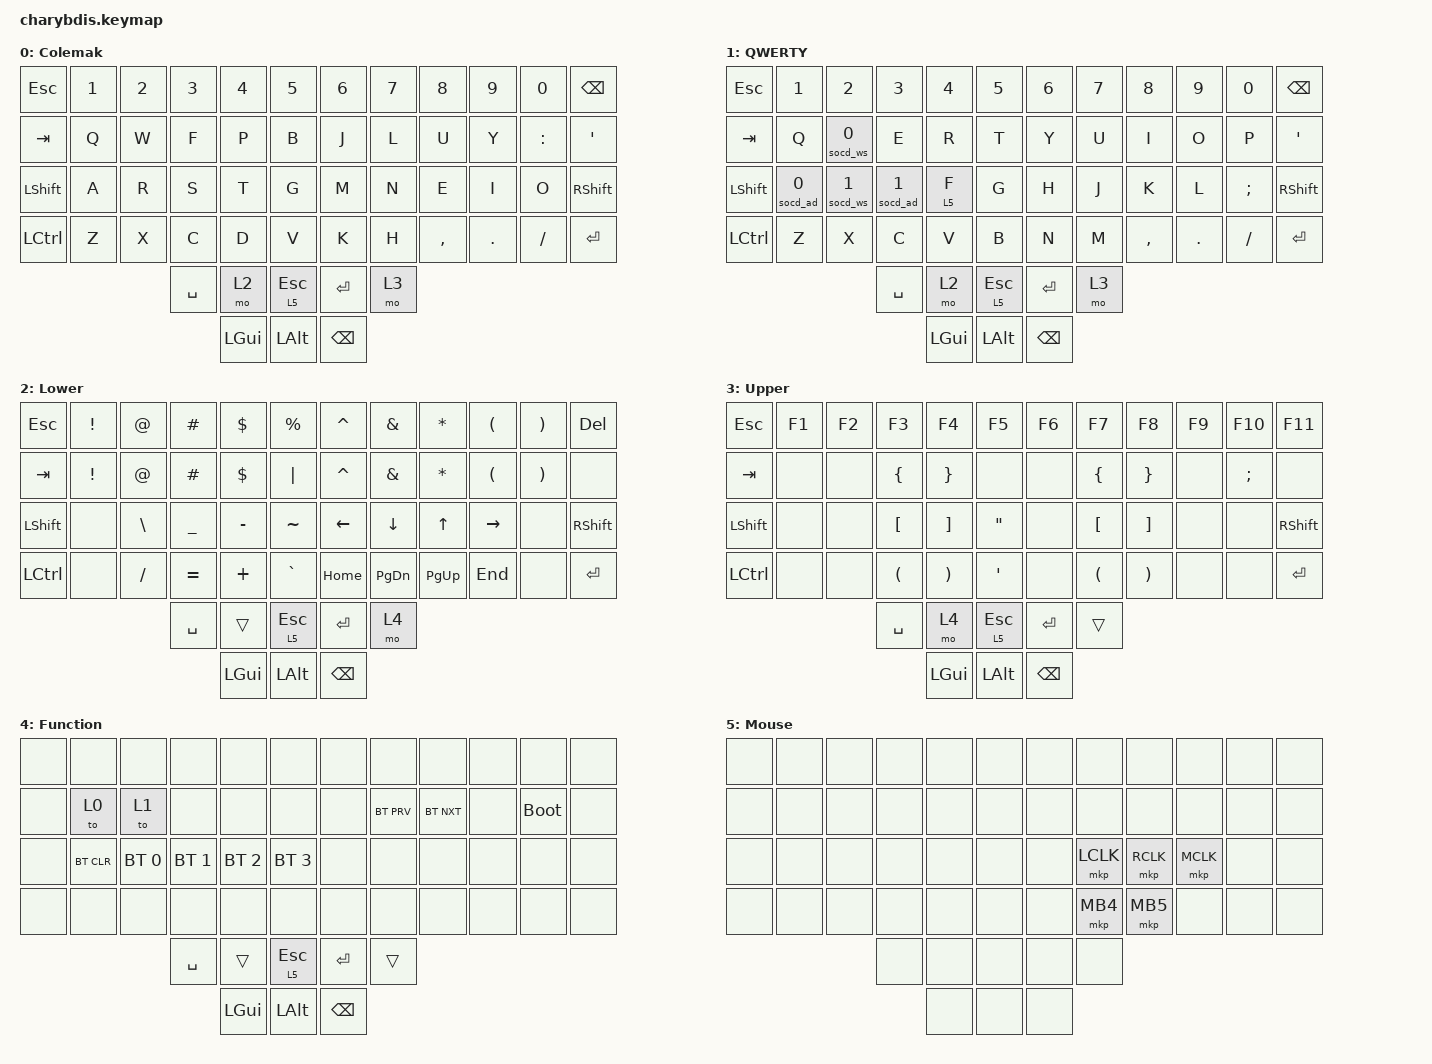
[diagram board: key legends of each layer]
#include <behaviors.dtsi>
#include <behaviors/socd_wasd.dtsi>
#include <dt-bindings/zmk/bt.h>
#include <dt-bindings/zmk/keys.h>
#include <dt-bindings/zmk/pointing.h>

/ {
    keymap {
        compatible = "zmk,keymap";

        /* LAYER 0 */

        Colemak {
            bindings = <
&kp ESC    &kp N1  &kp N2  &kp N3     &kp N4    &kp N5       &kp N6     &kp N7  &kp N8     &kp N9   &kp N0     &kp BSPC
&kp TAB    &kp Q   &kp W   &kp F      &kp P     &kp B        &kp J      &kp L   &kp U      &kp Y    &kp COLON  &kp SQT
&kp LSHFT  &kp A   &kp R   &kp S      &kp T     &kp G        &kp M      &kp N   &kp E      &kp I    &kp O      &kp RSHFT
&kp LCTRL  &kp Z   &kp X   &kp C      &kp D     &kp V        &kp K      &kp H   &kp COMMA  &kp DOT  &kp FSLH   &kp ENTER
                           &kp SPACE  &mo 2     &lt 5 ESC    &kp ENTER   &mo 3
                                      &kp LGUI  &kp LALT     &kp BSPC
            >;
        };

        /* LAYER 1 */

        QWERTY {
            bindings = <
&kp ESC    &kp N1  &kp N2  &kp N3     &kp N4    &kp N5       &kp N6     &kp N7  &kp N8     &kp N9   &kp N0    &kp BSPC
&kp TAB    &kp Q   &socd_ws 0  &kp E  &kp R     &kp T        &kp Y      &kp U   &kp I      &kp O    &kp P     &kp SQT
&kp LSHFT  &socd_ad 0  &socd_ws 1  &socd_ad 1  &lt 5 F  &kp G        &kp H      &kp J   &kp K      &kp L    &kp SEMI  &kp RSHFT
&kp LCTRL  &kp Z   &kp X   &kp C      &kp V     &kp B        &kp N      &kp M   &kp COMMA  &kp DOT  &kp FSLH  &kp ENTER
                           &kp SPACE  &mo 2     &lt 5 ESC    &kp ENTER   &mo 3
                                      &kp LGUI  &kp LALT     &kp BSPC
            >;
        };

        /* LAYER 2 */

        Lower {
            bindings = <
&kp ESC    &kp EXCL  &kp AT    &kp HASH   &kp DLLR   &kp PRCNT    &kp CARET  &kp AMPS   &kp ASTRK  &kp LPAR   &kp RPAR  &kp DEL
&kp TAB    &kp EXCL  &kp AT    &kp HASH   &kp DLLR   &kp PIPE     &kp CARET  &kp AMPS   &kp ASTRK  &kp LPAR   &kp RPAR  &none
&kp LSHFT  &none     &kp BSLH  &kp UNDER  &kp MINUS  &kp TILDE    &kp LEFT   &kp DOWN   &kp UP     &kp RIGHT  &none     &kp RSHFT
&kp LCTRL  &none     &kp FSLH  &kp EQUAL  &kp PLUS   &kp GRAVE    &kp HOME   &kp PG_DN  &kp PG_UP  &kp END    &none     &kp ENTER
                           &kp SPACE  &trans     &lt 5 ESC    &kp ENTER   &mo 4
                                      &kp LGUI  &kp LALT     &kp BSPC
            >;
        };

        /* LAYER 3 */

        Upper {
            bindings = <
&kp ESC    &kp F1  &kp F2  &kp F3    &kp F4    &kp F5     &kp F6  &kp F7    &kp F8    &kp F9  &kp F10   &kp F11
&kp TAB    &none   &none   &kp LBRC  &kp RBRC  &none      &none   &kp LBRC  &kp RBRC  &none   &kp SEMI  &none
&kp LSHFT  &none   &none   &kp LBKT  &kp RBKT  &kp DQT    &none   &kp LBKT  &kp RBKT  &none   &none     &kp RSHFT
&kp LCTRL  &none   &none   &kp LPAR  &kp RPAR  &kp SQT    &none   &kp LPAR  &kp RPAR  &none   &none     &kp ENTER
                           &kp SPACE  &mo 4     &lt 5 ESC    &kp ENTER   &trans
                                      &kp LGUI  &kp LALT     &kp BSPC
            >;
        };

        /* LAYER 4 */

        Function {
            bindings = <
&none  &none       &none         &none         &none         &none           &none   &none       &none       &none  &none        &none
&none  &to 0       &to 1         &none         &none         &none           &none   &bt BT_PRV  &bt BT_NXT  &none  &bootloader  &none
&none  &bt BT_CLR  &bt BT_SEL 0  &bt BT_SEL 1  &bt BT_SEL 2  &bt BT_SEL 3    &none   &none       &none       &none  &none        &none
&none  &none       &none         &none         &none         &none           &none   &none       &none       &none  &none        &none
                           &kp SPACE  &trans     &lt 5 ESC    &kp ENTER   &trans
                                      &kp LGUI  &kp LALT     &kp BSPC
            >;
        };

        /* LAYER 6 */

        Mouse {
            bindings = <
&none  &none  &none  &none  &none  &none    &none  &none      &none      &none      &none  &none
&none  &none  &none  &none  &none  &none    &none  &none      &none      &none      &none  &none
&none  &none  &none  &none  &none  &none    &none  &mkp LCLK  &mkp RCLK  &mkp MCLK  &none  &none
&none  &none  &none  &none  &none  &none    &none  &mkp MB4   &mkp MB5   &none      &none  &none
                     &none  &none  &none    &none  &none
                            &none  &none    &none
            >;
        };
    };
};
